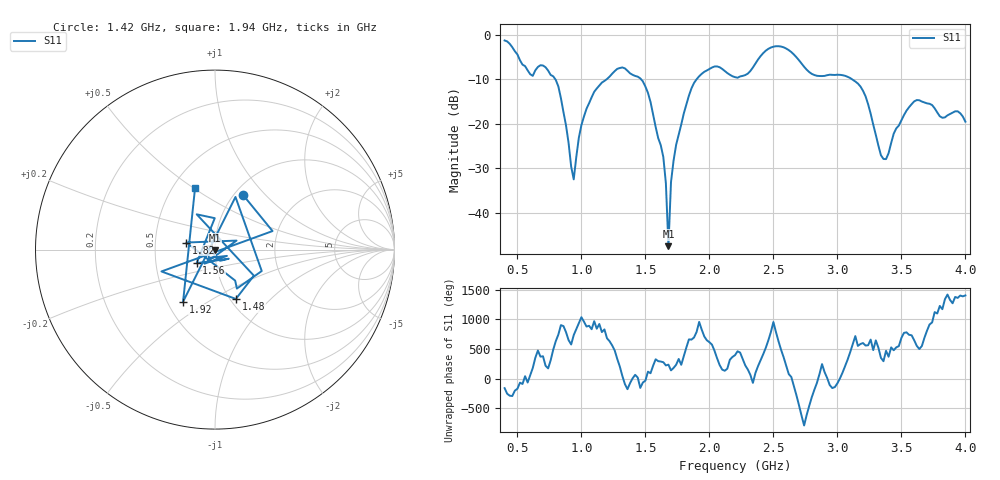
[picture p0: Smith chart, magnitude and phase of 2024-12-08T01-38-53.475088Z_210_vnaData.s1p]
!Created with skrf (http://scikit-rf.org).
# Hz S RI R 50.0
!freq ReS11 ImS11
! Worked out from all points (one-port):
!   181 points, 400 MHz to 4 GHz, reference 50 ohm
!   lowest |S11| = -47.5 dB at 1.68 GHz (marker M1), VSWR 1.01, Z = 49.8 - j0.346 ohm
!   |S11| at or under -10 dB: 795.2 MHz to 1.199 GHz (404.1 MHz wide, 40.5 % of centre); 1.465 GHz to 1.901 GHz (436.3 MHz wide, 25.9 % of centre); 3.113 GHz to end of sweep
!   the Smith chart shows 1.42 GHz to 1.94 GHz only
!   S11 on the Smith chart (normalised r, x): 1.42 GHz: 1.09, +0.76; 1.48 GHz: 1.06, -0.64; 1.56 GHz: 0.81, -0.12; 1.82 GHz: 0.72, +0.06; 1.92 GHz: 0.60, -0.39; 1.94 GHz: 0.64, +0.51
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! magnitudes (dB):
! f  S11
! 400 MHz  -1.3
! 600 MHz  -8.9
! 780 MHz  -9.4
! 860 MHz  -17.5
! 940 MHz  -32.5
! 980 MHz  -23.2
! 1.04 GHz  -16.7
! 1.3 GHz  -7.5
! 1.42 GHz  -9.3
! 1.48 GHz  -10.5
! 1.56 GHz  -17.9
! 1.64 GHz  -27.5
! 1.66 GHz  -33.4
! 1.68 GHz  -47.5
! 1.7 GHz  -33.1
! 1.76 GHz  -22.5
! 1.82 GHz  -15.7
! 1.92 GHz  -9.4
! 1.94 GHz  -8.8
! 2.2 GHz  -9.6
! 2.48 GHz  -2.9
! 2.66 GHz  -4.5
! 2.82 GHz  -9.1
! 3.1 GHz  -9.8
! 3.22 GHz  -13.9
! 3.36 GHz  -28.0
! 3.56 GHz  -16.3
! 4 GHz  -19.6
